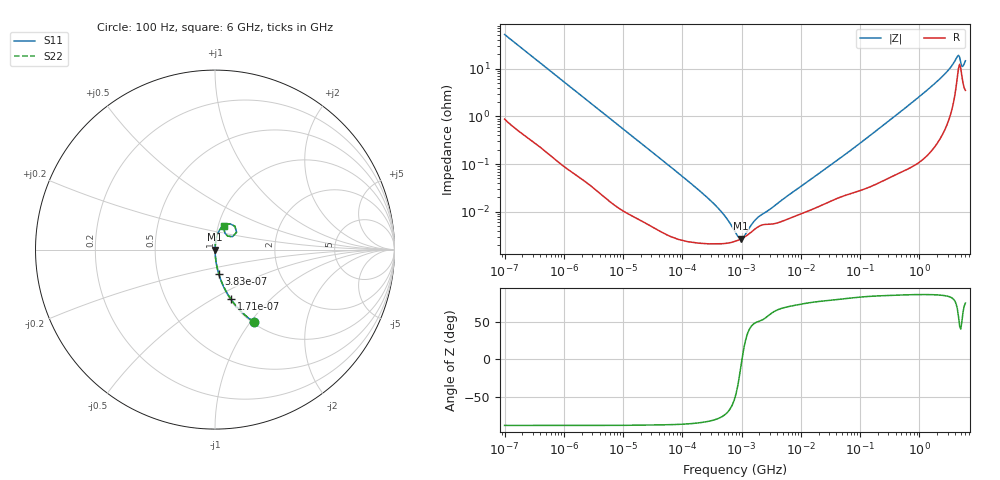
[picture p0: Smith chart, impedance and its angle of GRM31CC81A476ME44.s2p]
!Murata Part Number: GRM31CC81A476ME44
!These Parameters are Measured in Series Mode Connection
!Data Generated on Mar 30, 2021
!  o--ll--o
!Port1  Port2
!  o------o
!Operation Temp=25[degC], DC Bias Voltage=0[V]
!Freq. Start=100[Hz] Stop=6[GHz] 401[Steps]
# Hz S RI R 50
!Freq.(Hz) S11(Real) S11(Imag) S21(Real) S21(Imag) S12(Real) S12(Imag) S22(Real) S22(Imag)
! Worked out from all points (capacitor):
!   401 points, 100 Hz to 6 GHz, reference 50 ohm
!   read as one part in series: C = 30.5 uF near 109 Hz
!   lowest |Z| = 2.73 mohm at 969 kHz (marker M1)
!   series resonance near 1.016 MHz, so ESL is about 800 pH
!   S11 on the Smith chart (normalised r, x): 100 Hz: 1.02, -1.04; 171 Hz: 1.01, -0.61; 383 Hz: 1.00, -0.27; 6 GHz: 1.07, +0.28
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100  0.2166 -0.4036  0.7834 0.4036  0.7834 0.4036  0.2166 -0.4036
171  0.0889 -0.2765  0.9111 0.2765  0.9111 0.2765  0.0889 -0.2765
383  0.0207 -0.1342  0.9793 0.1342  0.9793 0.1342  0.0207 -0.1342
784  0.00567 -0.0672  0.9943 0.0672  0.9943 0.0672  0.00567 -0.0672
2008  0.00119 -0.0266  0.9988 0.0266  0.9988 0.0266  0.00119 -0.0266
40335  4.21e-05 -0.00137  1 0.00137  1 0.00137  4.21e-05 -0.00137
193316  2.21e-05 -0.000279  1 0.000279  1 0.000279  2.21e-05 -0.000279
452617  2.14e-05 -9.93e-05  1 9.93e-05  1 9.93e-05  2.14e-05 -9.93e-05
774597  2.4e-05 -3.01e-05  1 3.01e-05  1 3.01e-05  2.4e-05 -3.01e-05
968953  2.68e-05 -5.1e-06  1 5.1e-06  1 5.1e-06  2.68e-05 -5.1e-06
2372521  5.41e-05 7.59e-05  0.9999 -7.59e-05  0.9999 -7.59e-05  5.41e-05 7.59e-05
2713602  5.49e-05 8.75e-05  0.9999 -8.75e-05  0.9999 -8.75e-05  5.49e-05 8.75e-05
1.555665e7  0.000113 0.000491  0.9999 -0.000491  0.9999 -0.000491  0.000113 0.000491
6.817316e7  0.000243 0.00189  0.9998 -0.00189  0.9998 -0.00189  0.000243 0.00189
3.124326e8  0.000584 0.00818  0.9994 -0.00818  0.9994 -0.00818  0.000584 0.00818
1.95892e9  0.00536 0.0524  0.9946 -0.0524  0.9946 -0.0524  0.00536 0.0524
3.065283e9  0.0158 0.0895  0.9842 -0.0895  0.9842 -0.0895  0.0158 0.0895
4.193612e9  0.062 0.1407  0.938 -0.1407  0.938 -0.1407  0.062 0.1407
4.586474e9  0.1109 0.1304  0.8891 -0.1304  0.8891 -0.1304  0.1109 0.1304
5.245841e9  0.0703 0.0754  0.9297 -0.0754  0.9297 -0.0754  0.0703 0.0754
5.486059e9  0.0556 0.0919  0.9444 -0.0919  0.9444 -0.0919  0.0556 0.0919
6e9  0.0516 0.1297  0.9484 -0.1297  0.9484 -0.1297  0.0516 0.1297
